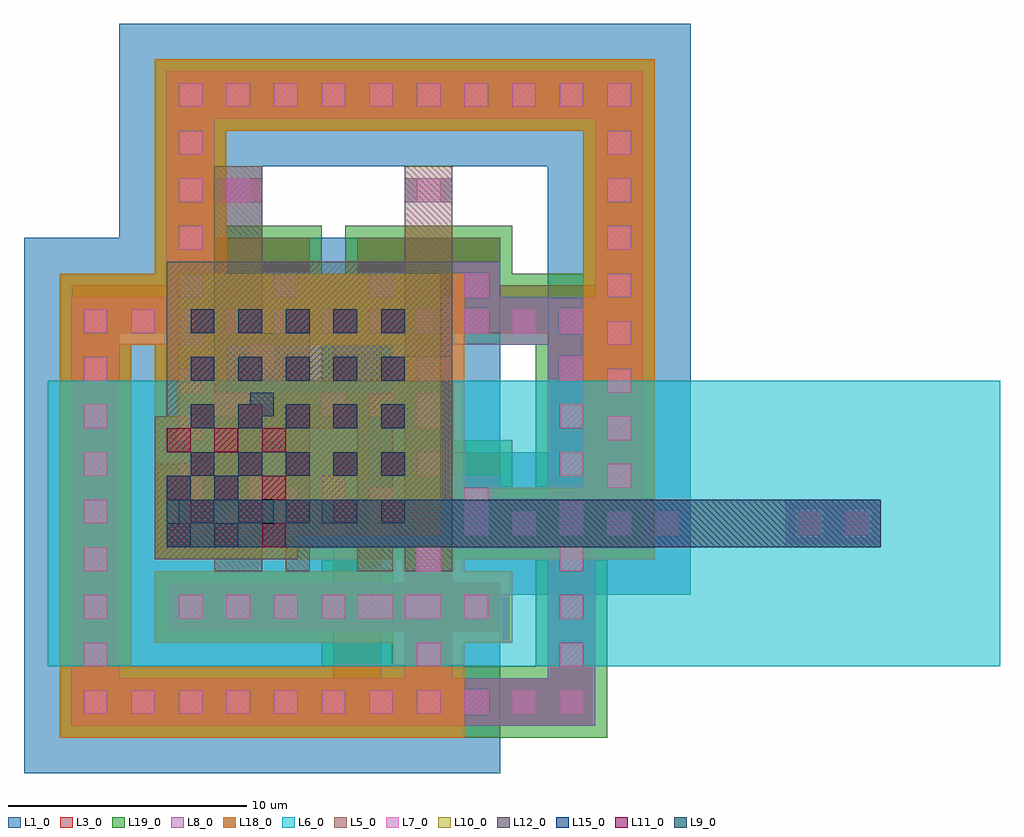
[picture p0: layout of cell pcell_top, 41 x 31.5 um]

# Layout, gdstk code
import gdstk
lib = gdstk.Library(unit=1e-6, precision=1e-09)
def R(c, l, rs):  # rectangles x0, y0, x1, y1
    for r in rs: c.add(gdstk.rectangle(r[:2], r[2:], *l))
def A(c, l, x, y, w, h, nx, ny, dx, dy):  # array of equal rectangles
    R(c, l, [(x+i*dx, y+j*dy, x+i*dx+w, y+j*dy+h) for i in range(nx) for j in range(ny)])
L1_0 = (1, 0)
L3_0 = (3, 0)
L5_0 = (5, 0)
L6_0 = (6, 0)
L7_0 = (7, 0)
L8_0 = (8, 0)
L9_0 = (9, 0)
L10_0 = (10, 0)
L11_0 = (11, 0)
L12_0 = (12, 0)
L15_0 = (15, 0)
L18_0 = (18, 0)
L19_0 = (19, 0)

t_cnt_diff = lib.new_cell('T_CNT_DIFF')
R(t_cnt_diff, L3_0, [(-0.5,-0.5,5.5,3.5)])
A(t_cnt_diff, L7_0, 0, 0, 1, 1, 3, 2, 2, 2)
R(t_cnt_diff, L8_0, [(-0.5,-0.5,5.5,3.5)])

t_cnt_poly = lib.new_cell('T_CNT_POLY')
R(t_cnt_poly, L5_0, [(-0.5,-0.5,3.5,3.5)])
R(t_cnt_poly, L7_0, [(0,0,1,1), (2,0,3,1), (0,2,1,3), (2,2,3,3)])
R(t_cnt_poly, L8_0, [(-0.5,-0.5,3.5,3.5)])

t_via1 = lib.new_cell('T_VIA1')
R(t_via1, L8_0, [(-0.5,-0.5,3.5,3.5)])
R(t_via1, L9_0, [(0,0,1,1), (2,0,3,1), (0,2,1,3), (2,2,3,3)])
R(t_via1, L10_0, [(-0.5,-0.5,3.5,3.5)])

t_via2 = lib.new_cell('T_VIA2')
R(t_via2, L10_0, [(-0.5,-0.5,5.5,5.5)])
A(t_via2, L11_0, 0, 0, 1, 1, 3, 3, 2, 2)
R(t_via2, L12_0, [(-0.5,-0.5,5.5,5.5)])

t_pad = lib.new_cell('T_PAD')
R(t_pad, L8_0, [(0.5,0.5,11.5,11.5)])
A(t_pad, L9_0, 1, 1, 1, 1, 5, 5, 2, 2)
R(t_pad, L10_0, [(0.5,0.5,11.5,11.5)])
A(t_pad, L11_0, 1, 1, 1, 1, 5, 5, 2, 2)
R(t_pad, L12_0, [(0,0,12,12)])

t_mosn1 = lib.new_cell('T_MOSN1')
R(t_mosn1, L3_0, [(0,-3.5,5,-1.5), (0,0,5,4)])
R(t_mosn1, L5_0, [(2,-1,3,5), (2,5,3,7)])
R(t_mosn1, L7_0, [(0.5,-3,1.5,-2), (2.5,-3,3.5,-2), (0.5,1,1.5,2), (3.5,1,4.5,2), (2,5.5,3,6.5)])
R(t_mosn1, L8_0, [(0,-3.5,2,-1.5), (2,-3.5,4,-1.5), (0,0.5,2,2.5), (3,0.5,5,2.5), (1.5,5.5,3.5,6.5)])
R(t_mosn1, L18_0, [(-0.5,-4,5.5,-1)])
R(t_mosn1, L19_0, [(-0.5,-0.5,5.5,4.5)])

t_mosn4 = lib.new_cell('T_MOSN4')
R(t_mosn4, L3_0, [(0,-3.5,14,-1.5), (0,0,14,4)])
A(t_mosn4, L5_0, 2, -1, 1, 6, 4, 1, 3, 0)
R(t_mosn4, L5_0, [(2,5,12,7)])
A(t_mosn4, L7_0, 0.5, -3, 1, 1, 7, 1, 2, 0)
A(t_mosn4, L7_0, 0.5, 1, 1, 1, 5, 1, 3, 0)
R(t_mosn4, L7_0, [(6.5,5.5,7.5,6.5)])
A(t_mosn4, L8_0, 0, -3.5, 2, 2, 7, 1, 2, 0)
A(t_mosn4, L8_0, 0, 0.5, 2, 2, 5, 1, 3, 0)
R(t_mosn4, L8_0, [(6,5.5,8,6.5)])
R(t_mosn4, L18_0, [(-0.5,-4,14.5,-1)])
R(t_mosn4, L19_0, [(-0.5,-0.5,14.5,4.5)])

t_mosp2 = lib.new_cell('T_MOSP2')
R(t_mosp2, L1_0, [(-2,-5.5,10,8), (-2,-2,10,8)])
R(t_mosp2, L3_0, [(0,-3.5,8,-1.5), (0,0,8,6)])
R(t_mosp2, L5_0, [(2,-1,3,7), (5,-1,6,7), (2,7,6,9)])
A(t_mosp2, L7_0, 0.5, -3, 1, 1, 4, 1, 2, 0)
A(t_mosp2, L7_0, 0.5, 2, 1, 1, 3, 1, 3, 0)
R(t_mosp2, L7_0, [(3.5,7.5,4.5,8.5)])
A(t_mosp2, L8_0, 0, -3.5, 2, 2, 4, 1, 2, 0)
A(t_mosp2, L8_0, 0, 1.5, 2, 2, 3, 1, 3, 0)
R(t_mosp2, L8_0, [(3,7.5,5,8.5)])
R(t_mosp2, L18_0, [(-0.5,-0.5,8.5,6.5)])
R(t_mosp2, L19_0, [(-0.5,-4,8.5,-1)])

t_mosntie0 = lib.new_cell('T_MOSNTIE0')
R(t_mosntie0, L3_0, [(0,0,6,2)])
R(t_mosntie0, L5_0, [(2,-1,4,3)])
R(t_mosntie0, L7_0, [(0.5,1,1.5,2), (4.5,1,5.5,2)])
R(t_mosntie0, L8_0, [(0,0.5,2,2.5), (4,0.5,6,2.5)])
R(t_mosntie0, L19_0, [(-0.5,-0.5,6.5,2.5)])

t_mosvia = lib.new_cell('T_MOSVIA')
R(t_mosvia, L3_0, [(0,-3.5,8,-1.5), (0,0,8,4)])
R(t_mosvia, L5_0, [(2,-1,3,5), (5,-1,6,5), (2,5,6,7)])
A(t_mosvia, L7_0, 0.5, -3, 1, 1, 4, 1, 2, 0)
A(t_mosvia, L7_0, 0.5, 1, 1, 1, 3, 1, 3, 0)
R(t_mosvia, L7_0, [(3.5,5.5,4.5,6.5)])
A(t_mosvia, L8_0, 0, -3.5, 2, 2, 4, 1, 2, 0)
A(t_mosvia, L8_0, 0, 0.5, 2, 2, 3, 1, 3, 0)
R(t_mosvia, L8_0, [(3,5.5,5,6.5)])
A(t_mosvia, L9_0, 0.5, 1, 1, 1, 3, 1, 3, 0)
R(t_mosvia, L9_0, [(3.5,5.5,4.5,6.5)])
A(t_mosvia, L10_0, 0, 0.5, 2, 2, 3, 1, 3, 0)
R(t_mosvia, L10_0, [(3,5.5,5,6.5)])
R(t_mosvia, L18_0, [(-0.5,-4,8.5,-1)])
R(t_mosvia, L19_0, [(-0.5,-0.5,8.5,4.5)])

t_guardn = lib.new_cell('T_GUARDN')
R(t_guardn, L3_0, [(-4,-7.5,9,-5.5), (-4,-5.5,-2,9), (7,-5.5,9,9), (0,-3.5,5,-1.5), (0,0,5,4), (-4,9,9,11)])
R(t_guardn, L5_0, [(2,-1,3,5), (2,5,3,7)])
A(t_guardn, L7_0, -3.5, -7, 1, 1, 6, 2, 2, 16)
A(t_guardn, L7_0, -3.5, -5, 1, 1, 1, 7, 0, 2)
R(t_guardn, L7_0, [(0.5,-3,1.5,-2), (2.5,-3,3.5,-2), (0.5,1,1.5,2), (3.5,1,4.5,2), (2,5.5,3,6.5)])
A(t_guardn, L8_0, -4, -7.5, 2, 2, 6, 2, 2, 16)
A(t_guardn, L8_0, -4, -5.5, 2, 2, 1, 7, 0, 2)
R(t_guardn, L8_0, [(0,-3.5,2,-1.5), (2,-3.5,4,-1.5), (0,0.5,2,2.5), (3,0.5,5,2.5), (1.5,5.5,3.5,6.5)])
R(t_guardn, L18_0, [(-0.5,-4,5.5,-1)])
R(t_guardn, L19_0, [(-4.5,-8,9.5,-5), (-4.5,-5,-1.5,8.5), (6.5,-5,9.5,8.5), (-0.5,-0.5,5.5,4.5), (-4.5,8.5,9.5,11.5)])

t_guardp = lib.new_cell('T_GUARDP')
R(t_guardp, L1_0, [(-6,-9.5,14,13), (-2,-5.5,10,6), (-2,-2,10,6)])
R(t_guardp, L3_0, [(-4,-7.5,12,-5.5), (-4,-5.5,-2,9), (10,-5.5,12,9), (0,-3.5,8,-1.5), (0,0,8,4), (-4,9,12,11)])
R(t_guardp, L5_0, [(2,-1,3,5), (5,-1,6,5), (2,5,6,7)])
A(t_guardp, L7_0, -3.5, -7, 1, 1, 8, 2, 2, 16)
A(t_guardp, L7_0, -3.5, -5, 1, 1, 1, 7, 0, 2)
A(t_guardp, L7_0, 10.5, -5, 1, 1, 1, 7, 0, 2)
A(t_guardp, L7_0, 0.5, -3, 1, 1, 4, 1, 2, 0)
A(t_guardp, L7_0, 0.5, 1, 1, 1, 3, 1, 3, 0)
R(t_guardp, L7_0, [(3.5,5.5,4.5,6.5)])
A(t_guardp, L8_0, -4, -7.5, 2, 2, 8, 2, 2, 16)
A(t_guardp, L8_0, -4, -5.5, 2, 2, 1, 7, 0, 2)
A(t_guardp, L8_0, 10, -5.5, 2, 2, 1, 7, 0, 2)
A(t_guardp, L8_0, 0, -3.5, 2, 2, 4, 1, 2, 0)
A(t_guardp, L8_0, 0, 0.5, 2, 2, 3, 1, 3, 0)
R(t_guardp, L8_0, [(3,5.5,5,6.5)])
R(t_guardp, L18_0, [(-4.5,-8,12.5,-5), (-4.5,-5,-1.5,8.5), (9.5,-5,12.5,8.5), (-0.5,-0.5,8.5,4.5), (-4.5,8.5,12.5,11.5)])
R(t_guardp, L19_0, [(-0.5,-4,8.5,-1)])

t_res = lib.new_cell('T_RES')
R(t_res, L5_0, [(0,0,10,2)])
R(t_res, L7_0, [(0.5,0.5,1.5,1.5), (8.5,0.5,9.5,1.5)])
R(t_res, L8_0, [(0,0,2,2), (8,0,10,2)])
R(t_res, L15_0, [(0,0,10,2)])

t_hres = lib.new_cell('T_HRES')
R(t_hres, L5_0, [(0,0,30,2)])
R(t_hres, L6_0, [(-5,-5,35,7)])
R(t_hres, L7_0, [(0.5,0.5,1.5,1.5), (28.5,0.5,29.5,1.5)])
R(t_hres, L8_0, [(0,0,2,2), (28,0,30,2)])
R(t_hres, L15_0, [(0,0,30,2)])

t_dresn = lib.new_cell('T_DRESN')
R(t_dresn, L3_0, [(0,0,10,2)])
R(t_dresn, L7_0, [(0.5,0.5,1.5,1.5), (8.5,0.5,9.5,1.5)])
R(t_dresn, L8_0, [(0,0,2,2), (8,0,10,2)])
R(t_dresn, L15_0, [(0,0,10,2)])
R(t_dresn, L19_0, [(-0.5,-0.5,10.5,2.5)])

t_dresp = lib.new_cell('T_DRESP')
R(t_dresp, L1_0, [(-2,-2,12,4)])
R(t_dresp, L3_0, [(0,0,10,2)])
R(t_dresp, L7_0, [(0.5,0.5,1.5,1.5), (8.5,0.5,9.5,1.5)])
R(t_dresp, L8_0, [(0,0,2,2), (8,0,10,2)])
R(t_dresp, L15_0, [(0,0,10,2)])
R(t_dresp, L18_0, [(-0.5,-0.5,10.5,2.5)])

t_diode = lib.new_cell('T_DIODE')
R(t_diode, L1_0, [(-2,-5.5,8,6)])
R(t_diode, L3_0, [(0,-3.5,6,-1.5), (0,0,6,4)])
R(t_diode, L18_0, [(-0.5,-0.5,6.5,4.5)])
R(t_diode, L19_0, [(-0.5,-4,6.5,-1)])

t_moscap = lib.new_cell('T_MOSCAP')
R(t_moscap, L3_0, [(0,0,6,4)])
R(t_moscap, L5_0, [(2,-1,4,7)])
R(t_moscap, L7_0, [(0.5,1.5,1.5,2.5), (4.5,1.5,5.5,2.5), (2.5,5.5,3.5,6.5)])
R(t_moscap, L8_0, [(0,1,2,3), (4,1,6,3), (2,5.5,4,6.5)])
R(t_moscap, L19_0, [(-0.5,-0.5,6.5,4.5)])

t_match = lib.new_cell('T_MATCH')
R(t_match, L3_0, [(0,-3.5,5,-1.5), (6.5,-3.5,11.5,-1.5), (0,0,5,4), (6.5,0,11.5,4)])
R(t_match, L5_0, [(2,-1,3,5), (8.5,-1,9.5,5), (2,5,3,7), (8.5,5,9.5,7)])
R(t_match, L7_0, [(0.5,-3,1.5,-2), (2.5,-3,3.5,-2), (8,-3,9,-2), (10,-3,11,-2), (0.5,1,1.5,2), (3.5,1,4.5,2), (7,1,8,2), (10,1,11,2), (2,5.5,3,6.5), (8.5,5.5,9.5,6.5)])
R(t_match, L8_0, [(0,-3.5,2,-1.5), (2,-3.5,4,-1.5), (7.5,-3.5,9.5,-1.5), (9.5,-3.5,11.5,-1.5), (0,0.5,2,2.5), (3,0.5,5,2.5), (6.5,0.5,8.5,2.5), (9.5,0.5,11.5,2.5), (1.5,5.5,3.5,6.5), (8,5.5,10,6.5)])
R(t_match, L18_0, [(-0.5,-4,5.5,-1), (6,-4,12,-1)])
R(t_match, L19_0, [(-0.5,-0.5,5.5,4.5), (6,-0.5,12,4.5)])

t_resarr = lib.new_cell('T_RESARR')
A(t_resarr, L5_0, 0, 0, 8, 2, 3, 1, 10, 0)
R(t_resarr, L7_0, [(0.5,0.5,1.5,1.5), (6.5,0.5,7.5,1.5), (10.5,0.5,11.5,1.5), (16.5,0.5,17.5,1.5), (20.5,0.5,21.5,1.5), (26.5,0.5,27.5,1.5)])
R(t_resarr, L8_0, [(0,0,2,2), (6,0,8,2), (10,0,12,2), (16,0,18,2), (20,0,22,2), (26,0,28,2)])
A(t_resarr, L15_0, 0, 0, 8, 2, 3, 1, 10, 0)

t_caparr = lib.new_cell('T_CAPARR')
R(t_caparr, L3_0, [(0,0,6,4), (8,0,14,4), (0,9,6,13), (8,9,14,13)])
R(t_caparr, L5_0, [(2,-1,4,7), (10,-1,12,7), (2,8,4,16), (10,8,12,16)])
A(t_caparr, L7_0, 0.5, 1.5, 1, 1, 4, 2, 4, 9)
R(t_caparr, L7_0, [(2.5,5.5,3.5,6.5), (10.5,5.5,11.5,6.5), (2.5,14.5,3.5,15.5), (10.5,14.5,11.5,15.5)])
A(t_caparr, L8_0, 0, 1, 2, 2, 4, 2, 4, 9)
R(t_caparr, L8_0, [(2,5.5,4,6.5), (10,5.5,12,6.5), (2,14.5,4,15.5), (10,14.5,12,15.5)])
R(t_caparr, L19_0, [(-0.5,-0.5,6.5,4.5), (7.5,-0.5,14.5,4.5), (-0.5,8.5,6.5,13.5), (7.5,8.5,14.5,13.5)])

t_esd = lib.new_cell('T_ESD')
R(t_esd, L3_0, [(-4,-7.5,18,-5.5), (-4,-5.5,-2,9), (16,-5.5,18,9), (0,-3.5,14,-1.5), (0,0,14,4), (-4,9,18,11)])
A(t_esd, L5_0, 2, -1, 1, 6, 4, 1, 3, 0)
R(t_esd, L5_0, [(2,5,12,7)])
A(t_esd, L7_0, -3.5, -7, 1, 1, 11, 2, 2, 16)
A(t_esd, L7_0, -3.5, -5, 1, 1, 1, 7, 0, 2)
A(t_esd, L7_0, 16.5, -5, 1, 1, 1, 7, 0, 2)
A(t_esd, L7_0, 0.5, -3, 1, 1, 7, 1, 2, 0)
A(t_esd, L7_0, 0.5, 1, 1, 1, 5, 1, 3, 0)
R(t_esd, L7_0, [(6.5,5.5,7.5,6.5)])
A(t_esd, L8_0, -4, -7.5, 2, 2, 11, 2, 2, 16)
A(t_esd, L8_0, -4, -5.5, 2, 2, 1, 7, 0, 2)
A(t_esd, L8_0, 16, -5.5, 2, 2, 1, 7, 0, 2)
A(t_esd, L8_0, 0, -3.5, 2, 2, 7, 1, 2, 0)
A(t_esd, L8_0, 0, 0.5, 2, 2, 5, 1, 3, 0)
R(t_esd, L8_0, [(6,5.5,8,6.5)])
R(t_esd, L18_0, [(-0.5,-4,14.5,-1)])
R(t_esd, L19_0, [(-4.5,-8,18.5,-5), (-4.5,-5,-1.5,8.5), (15.5,-5,18.5,8.5), (-0.5,-0.5,14.5,4.5), (-4.5,8.5,18.5,11.5)])

t_ringp = lib.new_cell('T_RINGP')
R(t_ringp, L3_0, [(0,0,20,2), (0,2,2,18), (18,2,20,18), (0,18,20,20)])
A(t_ringp, L7_0, 0.5, 0.5, 1, 1, 10, 2, 2, 18)
A(t_ringp, L7_0, 0.5, 2.5, 1, 1, 1, 8, 0, 2)
A(t_ringp, L7_0, 18.5, 2.5, 1, 1, 1, 8, 0, 2)
A(t_ringp, L8_0, 0, 0, 2, 2, 10, 2, 2, 18)
A(t_ringp, L8_0, 0, 2, 2, 2, 1, 8, 0, 2)
A(t_ringp, L8_0, 18, 2, 2, 2, 1, 8, 0, 2)
R(t_ringp, L18_0, [(-0.5,-0.5,20.5,2.5), (-0.5,2.5,2.5,17.5), (17.5,2.5,20.5,17.5), (-0.5,17.5,20.5,20.5)])

t_ringn = lib.new_cell('T_RINGN')
R(t_ringn, L1_0, [(-2,-2,22,4), (-2,4,4,16), (16,4,22,16), (-2,16,22,22)])
R(t_ringn, L3_0, [(0,0,20,2), (0,2,2,18), (18,2,20,18), (0,18,20,20)])
A(t_ringn, L7_0, 0.5, 0.5, 1, 1, 10, 2, 2, 18)
A(t_ringn, L7_0, 0.5, 2.5, 1, 1, 1, 8, 0, 2)
A(t_ringn, L7_0, 18.5, 2.5, 1, 1, 1, 8, 0, 2)
A(t_ringn, L8_0, 0, 0, 2, 2, 10, 2, 2, 18)
A(t_ringn, L8_0, 0, 2, 2, 2, 1, 8, 0, 2)
A(t_ringn, L8_0, 18, 2, 2, 2, 1, 8, 0, 2)
R(t_ringn, L19_0, [(-0.5,-0.5,20.5,2.5), (-0.5,2.5,2.5,17.5), (17.5,2.5,20.5,17.5), (-0.5,17.5,20.5,20.5)])

t_linep = lib.new_cell('T_LINEP')
R(t_linep, L3_0, [(0,0,20,2)])
A(t_linep, L7_0, 0.5, 0.5, 1, 1, 10, 1, 2, 0)
A(t_linep, L8_0, 0, 0, 2, 2, 10, 1, 2, 0)
R(t_linep, L18_0, [(-0.5,-0.5,20.5,2.5)])

t_linen = lib.new_cell('T_LINEN')
R(t_linen, L1_0, [(-2,-2,22,4)])
R(t_linen, L3_0, [(0,0,20,2)])
A(t_linen, L7_0, 0.5, 0.5, 1, 1, 10, 1, 2, 0)
A(t_linen, L8_0, 0, 0, 2, 2, 10, 1, 2, 0)
R(t_linen, L19_0, [(-0.5,-0.5,20.5,2.5)])

pcell_top = lib.new_cell('pcell_top')
pcell_top.add(gdstk.Reference(t_cnt_diff, (0,0)))
pcell_top.add(gdstk.Reference(t_cnt_poly, (0,0)))
pcell_top.add(gdstk.Reference(t_via1, (0,0)))
pcell_top.add(gdstk.Reference(t_via2, (0,0)))
pcell_top.add(gdstk.Reference(t_pad, (0,0)))
pcell_top.add(gdstk.Reference(t_mosn1, (0,0)))
pcell_top.add(gdstk.Reference(t_mosn4, (0,0)))
pcell_top.add(gdstk.Reference(t_mosp2, (0,0)))
pcell_top.add(gdstk.Reference(t_mosntie0, (0,0)))
pcell_top.add(gdstk.Reference(t_mosvia, (0,0)))
pcell_top.add(gdstk.Reference(t_guardn, (0,0)))
pcell_top.add(gdstk.Reference(t_guardp, (0,0)))
pcell_top.add(gdstk.Reference(t_res, (0,0)))
pcell_top.add(gdstk.Reference(t_hres, (0,0)))
pcell_top.add(gdstk.Reference(t_dresn, (0,0)))
pcell_top.add(gdstk.Reference(t_dresp, (0,0)))
pcell_top.add(gdstk.Reference(t_diode, (0,0)))
pcell_top.add(gdstk.Reference(t_moscap, (0,0)))
pcell_top.add(gdstk.Reference(t_match, (0,0)))
pcell_top.add(gdstk.Reference(t_resarr, (0,0)))
pcell_top.add(gdstk.Reference(t_caparr, (0,0)))
pcell_top.add(gdstk.Reference(t_esd, (0,0)))
pcell_top.add(gdstk.Reference(t_ringp, (0,0)))
pcell_top.add(gdstk.Reference(t_ringn, (0,0)))
pcell_top.add(gdstk.Reference(t_linep, (0,0)))
pcell_top.add(gdstk.Reference(t_linen, (0,0)))

lib.write_gds('pcell_top.gds')
